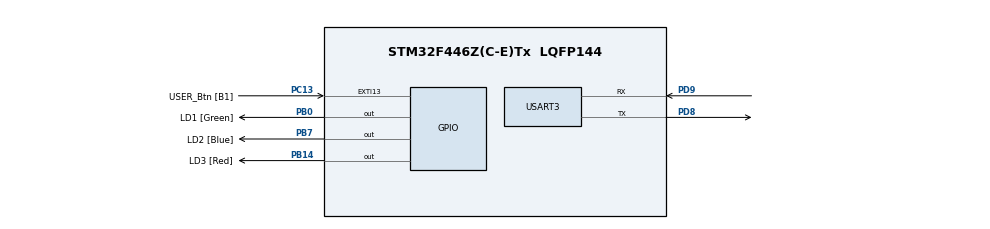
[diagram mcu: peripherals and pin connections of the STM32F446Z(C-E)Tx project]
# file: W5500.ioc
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Mcu.Family=STM32F4
Mcu.Name=STM32F446Z(C-E)Tx
Mcu.Package=LQFP144
NVIC.PriorityGroup=NVIC_PRIORITYGROUP_4
NVIC.USART3_IRQn=true\:0\:0\:false\:false\:false\:true\:true\:true
PA13.GPIO_Label=TMS
PA13.Mode=Serial_Wire
PA13.Signal=SYS_JTMS-SWDIO
PA14.GPIO_Label=TCK
PA14.Mode=Serial_Wire
PA14.Signal=SYS_JTCK-SWCLK
PB0.GPIO_Label=LD1 [Green]
PB0.Signal=GPIO_Output
PB14.GPIO_Label=LD3 [Red]
PB14.Signal=GPIO_Output
PB7.GPIO_Label=LD2 [Blue]
PB7.Signal=GPIO_Output
PC13.GPIO_Label=USER_Btn [B1]
PC13.Signal=GPXTI13
PC14-OSC32_IN.Mode=LSE-External-Oscillator
PC14-OSC32_IN.Signal=RCC_OSC32_IN
PC15-OSC32_OUT.Mode=LSE-External-Oscillator
PC15-OSC32_OUT.Signal=RCC_OSC32_OUT
PD8.Mode=Asynchronous
PD8.Signal=USART3_TX
PD9.Mode=Asynchronous
PD9.Signal=USART3_RX
PH0-OSC_IN.GPIO_Label=MCO [STM32F103CBT6_PA8]
PH0-OSC_IN.Mode=HSE-External-Clock-Source
PH0-OSC_IN.Signal=RCC_OSC_IN
PH1-OSC_OUT.Mode=HSE-External-Clock-Source
PH1-OSC_OUT.Signal=RCC_OSC_OUT
ProjectManager.HeapSize=0x200
ProjectManager.StackSize=0x600
ProjectManager.TargetToolchain=CMake
RCC.48MHZClocksFreq_Value=24000000
RCC.AHBFreq_Value=180000000
RCC.APB1CLKDivider=RCC_HCLK_DIV4
RCC.APB1Freq_Value=45000000
RCC.APB1TimFreq_Value=90000000
RCC.APB2CLKDivider=RCC_HCLK_DIV2
RCC.APB2Freq_Value=90000000
RCC.APB2TimFreq_Value=180000000
RCC.CortexFreq_Value=180000000
RCC.HCLKFreq_Value=180000000
RCC.HSE_VALUE=8000000
RCC.HSI_VALUE=16000000
RCC.PLLM=4
RCC.PLLMUL=RCC_PLL_MUL9
RCC.PLLN=180
RCC.PLLQ=7
RCC.PLLSourceVirtual=RCC_PLLSOURCE_HSE
RCC.PRESCALERUSB=RCC_USBCLKSOURCE_PLL_DIV1_5
RCC.SYSCLKFreq_VALUE=180000000
RCC.SYSCLKSource=RCC_SYSCLKSOURCE_PLLCLK
RCC.SYSCLKSourceVirtual=RCC_SYSCLKSOURCE_PLLCLK
RCC.USBFreq_Value=51428571.428571425
RCC.VCOOutputFreq_Value=360000000
USART3.VirtualMode=VM_ASYNC
board=NUCLEO-F446ZE

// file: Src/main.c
/* USER CODE BEGIN Header */
/**
  ******************************************************************************
  * @file           : main.c
  * @brief          : Main program body
  ******************************************************************************
  * @attention
  *
  * Copyright (c) 2025 STMicroelectronics.
  * All rights reserved.
  *
  * This software is licensed under terms that can be found in the LICENSE file
  * in the root directory of this software component.
  * If no LICENSE file comes with this software, it is provided AS-IS.
  *
  ******************************************************************************
  */
/* USER CODE END Header */
#include "main.h"
#include "usart.h"
#include "gpio.h"

/* USER CODE BEGIN PV */
bool rx_read_ready = false;
w5500_packet_info_t packet_s0;
bool processed_last_packet = true;
uint8_t rx_buffer[1500];
uint8_t tx_buffer[1500];
uint16_t tx_length = 0;

spi_t spi_handle;
spi_config_t spi_config;
w5500_t w5500;
socket_t s0;
bool buf_rx_0_done = false;
bool buf_tx_0_done = false;
bool packet_ready = false;
enum reciver_state s0_state = no_data;
/* USER CODE END PV */

void SystemClock_Config(void);

/* USER CODE BEGIN 0 */

// ===== W5500 TEST FUNCTIONS =====
bool W5500_BasicTest(void)
{
    printf("=== TEST W5500 START ===\r\n");

    // Konfiguracja SPI
    spi_config.spi = SPI1;
    spi_config.dma = DMA2;
    spi_config.dmastreamtx = 3;
    spi_config.dmastreamrx = 0;
    spi_config.dmachanneltx = 3;
    spi_config.dmachannelrx = 3;
    spi_config.BRpre = 4;           // Wolniejsza prędkość dla testu
    spi_config.CSPort = GPIOD;
    spi_config.CSPin = 14;
    spi_config.MISOPort = GPIOA;
    spi_config.MISOPin = 6;
    spi_config.MOSIPort = GPIOA;
    spi_config.MOSIPin = 7;
    spi_config.SCKPort = GPIOA;
    spi_config.SCKPin = 5;

    // 1. Inicjalizacja SPI
    printf("1. Inicjalizacja SPI...\r\n");
    spi_init_config(&spi_handle, &spi_config);
    spi_init_peripheral(&spi_handle);
    printf("   SPI OK\r\n");

    // 2. Inicjalizacja W5500
    printf("2. Inicjalizacja W5500...\r\n");
    W5500_InitDefault(&w5500, &spi_handle);
    W5500_InitPeripheral(&w5500);

    if (!w5500.is_initialized) {
        printf("   BŁĄD: W5500 nie zainicjowane!\r\n");
        return false;
    }
    printf("   W5500 zainicjowane\r\n");

    // 3. Test wersji układu
    printf("3. Test wersji układu...\r\n");
    uint8_t version = W5500_GetVersion(&w5500);
    printf("   Wersja: 0x%02X ", version);

    if (version == 0x04) {
        printf("(OK)\r\n");
    } else {
        printf("(BŁĄD - oczekiwano 0x04)\r\n");
        return false;
    }

    // 4. Self-test
    printf("4. Self-test...\r\n");
    if (W5500_SelfTest(&w5500)) {
        printf("   Self-test PASSED\r\n");
    } else {
        printf("   Self-test FAILED\r\n");
        return false;
    }

    // 5. Test konfiguracji sieciowej
    printf("5. Test konfiguracji sieciowej...\r\n");
    w5500_network_config_t net_config;
    W5500_GetNetworkConfig(&w5500, &net_config);

    printf("   MAC: %02X:%02X:%02X:%02X:%02X:%02X\r\n",
           net_config.mac[0], net_config.mac[1], net_config.mac[2],
           net_config.mac[3], net_config.mac[4], net_config.mac[5]);

    printf("   IP:  %d.%d.%d.%d\r\n",
           net_config.ip[0], net_config.ip[1],
           net_config.ip[2], net_config.ip[3]);

    // 6. Test PHY
    printf("6. Test PHY...\r\n");
    bool link_up = W5500_IsLinkUp(&w5500);
    printf("   Link: %s\r\n", link_up ? "UP" : "DOWN");
    uint8_t phy_config = W5500_GetPHYConfig(&w5500);
    printf("   PHY Config: 0x%02X\r\n", phy_config);

    printf("=== TEST W5500 ZAKOŃCZONY POMYŚLNIE ===\r\n");
    return true;
}
/* USER CODE END 0 */

int main(void)
{

  /* USER CODE BEGIN 1 */

  /* MCU Configuration--------------------------------------------------------*/

  /* Reset of all peripherals, Initializes the Flash interface and the Systick. */
  LL_APB2_GRP1_EnableClock(LL_APB2_GRP1_PERIPH_SYSCFG);
  LL_APB1_GRP1_EnableClock(LL_APB1_GRP1_PERIPH_PWR);

  /* System interrupt init*/
  NVIC_SetPriorityGrouping(NVIC_PRIORITYGROUP_4);

  /* Configure the system clock */
  SystemClock_Config();

  /* Initialize all configured peripherals */
  MX_GPIO_Init();
  MX_USART3_UART_Init();
  /* USER CODE BEGIN 2 */

    W5500_BasicTest();
    s0.socket_num = 0;
    s0.protocol = W5500_Sn_MR_PROTOCOL_MACRAW;
    W5500_SocketOpen(&w5500, &s0);
    uint8_t int_conf = 0x01;
    W5500_WriteReg(&w5500, W5500_SIMR, W5500_BSB_COMMON_REG, &int_conf, 1);
    int_conf = 0b00000100;
    W5500_WriteReg(&w5500, W5500_Sn_IR, W5500_BSB_SOCKET0_REG, &int_conf, 1);
    int_conf = 0b11110100;
    W5500_WriteReg(&w5500, W5500_Sn_MR, W5500_BSB_SOCKET0_REG, &int_conf, 1);
    bool link_up = false;
    uint8_t phy_config = 0x00;
  /* USER CODE END 2 */

  /* Infinite loop */
  /* USER CODE BEGIN WHILE */
  while (1)
  {
      if (!link_up) {
          link_up = W5500_IsLinkUp(&w5500);
          phy_config = W5500_GetPHYConfig(&w5500);
          printf("   Link: %s\r\n", link_up ? "UP" : "DOWN");
          printf("   PHY Config: 0x%02X\r\n", phy_config);
          for (volatile size_t i = 0; i < 18000000; i++) {}
      }

    /* USER CODE END WHILE */

  /* USER CODE BEGIN 3 */

      //Obsługa przerwania - przypisanie dlaczego przerwanie
      if (s0_state ==no_data && !spi_is_dma_tx_busy(&spi_handle) && !spi_is_dma_rx_busy(&spi_handle) && w5500.isInterrupts) {
          uint8_t ir = 0;
          W5500_ReadReg(&w5500, W5500_IR,W5500_BSB_COMMON_REG, &ir, 1);
          if (ir != 0) {
              if (ir & W5500_IR_CONFLICT) {
                  printf("IP CONFLICT\r\n");
              }
              if (ir & W5500_IR_UNREACH) {
                  uint8_t ip[4] = {0,0,0,0};
                  W5500_ReadReg(&w5500, W5500_UIPR0, W5500_BSB_COMMON_REG, &ip[0], 1);
                  W5500_ReadReg(&w5500, W5500_UIPR1, W5500_BSB_COMMON_REG, &ip[1], 1);
                  W5500_ReadReg(&w5500, W5500_UIPR2, W5500_BSB_COMMON_REG, &ip[2], 1);
                  W5500_ReadReg(&w5500, W5500_UIPR3, W5500_BSB_COMMON_REG, &ip[3], 1);
                  printf("IP %d.%d.%d.%d UNREACHABLE\r\n", ip[0], ip[1], ip[2], ip[3]);
              }
          }
          W5500_WriteReg(&w5500, W5500_IR,W5500_BSB_COMMON_REG, &ir, 1);
          uint8_t sir = 0;
          W5500_ReadReg(&w5500, W5500_SIR,W5500_BSB_COMMON_REG, &sir, 1);
          if (sir != 0) {
              if (sir & (1 << 0)) {
                  uint8_t SnIR = 0;
                  W5500_ReadReg(&w5500, W5500_Sn_IR,W5500_BSB_SOCKET0_REG, &SnIR, 1);
                  if (SnIR & W5500_Sn_IR_CON) {
                      s0.flags.is_open = true;
                  }
                  if (SnIR & W5500_Sn_IR_DISCON){
                      s0.flags.is_open = false;
                  }
                  if (SnIR & W5500_Sn_IR_RECV) {
                      rx_read_ready = true;
                  }
                  if (SnIR & W5500_Sn_IR_TIMEOUT) {
                      printf("TIMEOUT on socket 0\r\n");
                  }
                  if (SnIR & W5500_Sn_IR_SENDOK) {
                      printf("SendOK on 0\r\n");
                  }

                  // if (SnIR == 0) {
                  //     w5500.isInterrupts = false;
                  // }
              }
          }

      }
      //Ramka przygotowana do wysłania do bufora W5500 - wysłać do bufora
      if (packet_ready && s0_state == dma_busy) {
          //
          packet_ready = false;
      }
      if (rx_read_ready && (s0_state == no_data || s0_state == data_read)) {
          int16_t status = W5500_SocketReceiveMACRAW(&w5500, &s0, rx_buffer, 1512, &packet_s0);
          if (status == W5500_ERROR) {
              printf("Error while receiving packet\r\n");
          } else if (status == W5500_INCOMPLETE_PACKET) {
              rx_read_ready = false;
          } else if (status == W5500_DMA_IN_PROGRESS) {
              printf("Oczekiwanie na dane\r\n");
          }else if (status == W5500_NO_DATA){
              rx_read_ready = false;
          } else if (status > 0) {
              printf("Packet received\r\n");
              uint8_t SnIR = 0;
              W5500_ReadReg(&w5500, W5500_Sn_IR,W5500_BSB_SOCKET0_REG, &SnIR, 1);
              W5500_WriteReg(&w5500, W5500_Sn_IR,W5500_BSB_SOCKET0_REG, &SnIR, 1);
              rx_read_ready = false;
          }
      }
      if (s0_state == socket_info_read) {
          char* data = (char*)(rx_buffer+42);
          printf("Odczytano dane: %s \n \r", data);
          s0_state = no_data;
          uint8_t SnIR = 0;
          // W5500_ReadReg(&w5500, W5500_Sn_IR,W5500_BSB_SOCKET0_REG, &SnIR, 1);
          // W5500_WriteReg(&w5500, W5500_Sn_IR,W5500_BSB_SOCKET0_REG, &SnIR, 1);
          //rx_read_ready = false;
      }
  }
  /* USER CODE END 3 */
}

void SystemClock_Config(void)
{
  LL_FLASH_SetLatency(LL_FLASH_LATENCY_5);
  while(LL_FLASH_GetLatency()!= LL_FLASH_LATENCY_5)
  {
  }
  LL_PWR_SetRegulVoltageScaling(LL_PWR_REGU_VOLTAGE_SCALE1);
  LL_PWR_EnableOverDriveMode();
  LL_RCC_HSE_EnableBypass();
  LL_RCC_HSE_Enable();

   /* Wait till HSE is ready */
  while(LL_RCC_HSE_IsReady() != 1)
  {

  }
  LL_RCC_PLL_ConfigDomain_SYS(LL_RCC_PLLSOURCE_HSE, LL_RCC_PLLM_DIV_4, 180, LL_RCC_PLLP_DIV_2);
  LL_RCC_PLL_Enable();

   /* Wait till PLL is ready */
  while(LL_RCC_PLL_IsReady() != 1)
  {

  }
  while (LL_PWR_IsActiveFlag_VOS() == 0)
  {
  }
  LL_RCC_SetAHBPrescaler(LL_RCC_SYSCLK_DIV_1);
  LL_RCC_SetAPB1Prescaler(LL_RCC_APB1_DIV_4);
  LL_RCC_SetAPB2Prescaler(LL_RCC_APB2_DIV_2);
  LL_RCC_SetSysClkSource(LL_RCC_SYS_CLKSOURCE_PLL);

   /* Wait till System clock is ready */
  while(LL_RCC_GetSysClkSource() != LL_RCC_SYS_CLKSOURCE_STATUS_PLL)
  {

  }
  LL_Init1msTick(180000000);
  LL_SetSystemCoreClock(180000000);
  LL_RCC_SetTIMPrescaler(LL_RCC_TIM_PRESCALER_TWICE);
}

/* USER CODE BEGIN 4 */
int __io_putchar(int ch) {
    return USART_PutChar(ch);
}
/* USER CODE END 4 */

void Error_Handler(void)
{
  __disable_irq();
  while (1)
  {
  }
}
